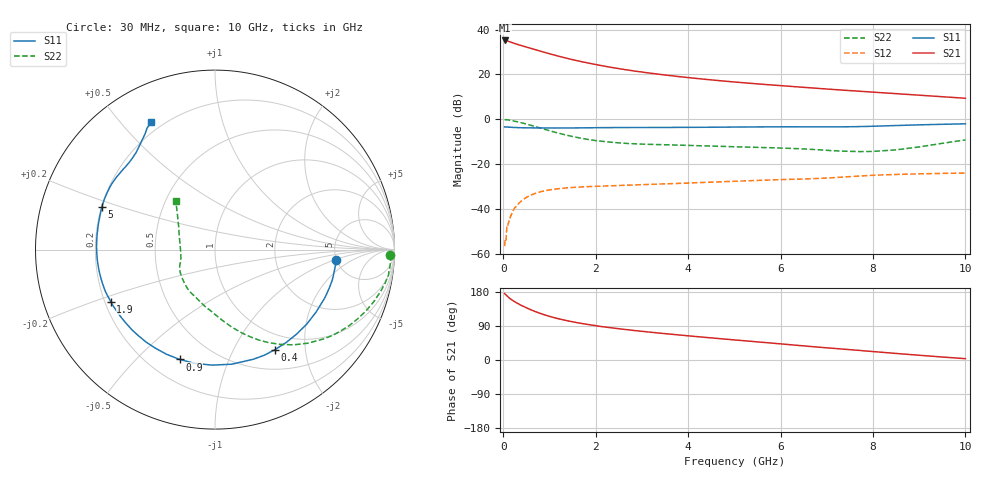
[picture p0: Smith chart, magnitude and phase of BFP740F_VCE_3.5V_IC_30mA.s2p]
! Infineon Technologies  Discrete & RF Semiconductors
! BFP740F
! VCE =  3.5 V,  IC =  30 mA
! Common Emitter S-Parameters:  Oct 2012
# GHz  S  MA  R  50
!  f  S11  S21  S12  S22
! GHz  MAG  ANG  MAG  ANG  MAG  ANG  MAG  ANG
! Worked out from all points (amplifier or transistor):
!   99 points, 30 MHz to 10 GHz, reference 50 ohm
!   highest |S21| = 35.1 dB at 30 MHz (marker M1)
!   |S21| within 3 dB of that: start of sweep to 510.6 MHz
!   unconditionally stable (mu >= 1): 5.369 GHz to end of sweep
!   at 350 MHz: K = 0.19, MSG = 35.1 dB, |S12| = -37.1 dB
!   at 3.5 GHz: K = 0.78, MSG = 24.2 dB, |S12| = -28.7 dB
!   at 10 GHz: K = 1.16, MAG = 14.2 dB, |S12| = -23.9 dB
!   S11 on the Smith chart (normalised r, x): 30 MHz: 4.99, -1.05; 400 MHz: 0.77, -1.48; 900 MHz: 0.32, -0.68; 1.9 GHz: 0.22, -0.22; 5 GHz: 0.20, +0.17; 10 GHz: 0.16, +0.61
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0.03  0.6782 -4.8  57.05 175.3  0.0015 80.2  0.9781 -1.8
0.07  0.675 -11.5  56.29 170.6  0.003 80.2  0.9787 -6.3
0.12  0.6706 -19.6  54.27 164.9  0.005 76.6  0.9658 -11.2
0.2  0.662 -31.8  50.8 157.5  0.0087 75.3  0.9308 -18.2
0.3  0.6544 -45.9  46.95 150.1  0.0121 69.7  0.8841 -25.8
0.4  0.6498 -59.1  43.67 143.6  0.0154 63.5  0.8349 -32.8
0.5  0.6471 -70.8  40.68 137.8  0.0183 59.0  0.7855 -39.2
0.6  0.6453 -81.7  37.96 132.4  0.0207 54.9  0.736 -45.1
0.8  0.6438 -100.1  33.05 123.0  0.0243 47.5  0.6416 -55.4
0.9  0.6428 -107.9  30.89 118.9  0.0257 44.7  0.5986 -60.0
1  0.6427 -114.8  28.89 115.2  0.0268 42.0  0.5595 -64.2
1.2  0.6425 -126.6  25.41 108.7  0.0286 38.1  0.4917 -71.7
1.4  0.6433 -136.1  22.55 103.2  0.0299 35.3  0.4379 -78.3
1.7  0.6455 -147.4  19.18 96.4  0.0313 32.4  0.3769 -87.0
1.9  0.6491 -153.5  17.41 92.5  0.032 30.9  0.3482 -92.5
2.5  0.6558 -167.2  13.47 82.5  0.0337 29.0  0.2993 -106.8
3.4  0.66 178.6  9.994 70.7  0.0363 28.4  0.2735 -120.7
5  0.6731 159.4  6.788 53.0  0.0418 29.1  0.2451 -136.9
5.1  0.6745 158.5  6.653 52.0  0.0421 29.1  0.2437 -138.1
6.7  0.68 141.7  4.981 35.2  0.0478 29.2  0.2138 -156.3
8.5  0.7278 124.3  3.731 17.3  0.0593 25.7  0.2091 161.4
10  0.7951 116.5  2.946 3.5  0.0637 20.0  0.3486 128.8
